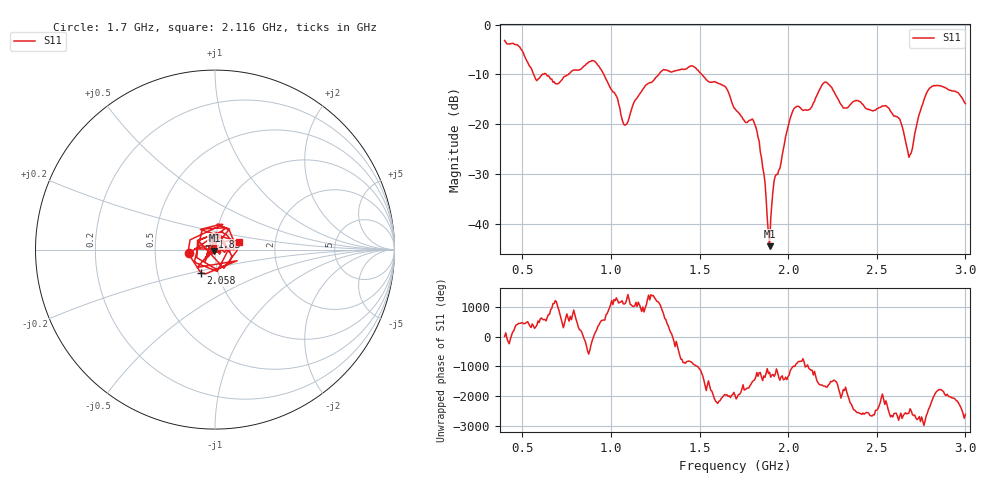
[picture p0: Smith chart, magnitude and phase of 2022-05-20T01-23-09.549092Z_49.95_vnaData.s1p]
!Created with skrf (http://scikit-rf.org).
# Hz S RI R 50.0
!freq ReS11 ImS11
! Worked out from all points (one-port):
!   401 points, 400 MHz to 3 GHz, reference 50 ohm
!   lowest |S11| = -44.5 dB at 1.895 GHz (marker M1), VSWR 1.01, Z = 49.7 - j0.499 ohm
!   |S11| at or under -10 dB: 635.5 MHz to 759.4 MHz (123.9 MHz wide, 17.8 % of centre); 959.8 MHz to 1.269 GHz (309.7 MHz wide, 27.8 % of centre); 1.513 GHz to end of sweep (the widest 3 of 4)
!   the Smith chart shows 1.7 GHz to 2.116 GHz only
!   S11 on the Smith chart (normalised r, x): 1.7 GHz: 0.75, -0.03; 1.83 GHz: 0.96, +0.14; 2.058 GHz: 0.83, -0.22; 2.116 GHz: 1.30, +0.11
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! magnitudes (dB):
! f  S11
! 400 MHz  -3.2
! 484.5 MHz  -4.4
! 582 MHz  -11.2
! 725 MHz  -11.0
! 907 MHz  -7.3
! 1.05 GHz  -16.7
! 1.083 GHz  -20.1
! 1.193 GHz  -12.3
! 1.375 GHz  -9.2
! 1.466 GHz  -8.4
! 1.635 GHz  -12.3
! 1.7 GHz  -16.9
! 1.804 GHz  -19.3
! 1.83 GHz  -22.6
! 1.895 GHz  -44.5
! 1.927 GHz  -30.4
! 2.025 GHz  -17.4
! 2.058 GHz  -16.4
! 2.116 GHz  -17.1
! 2.207 GHz  -11.5
! 2.35 GHz  -16.1
! 2.558 GHz  -16.5
! 2.63 GHz  -19.0
! 2.675 GHz  -25.4
! 2.695 GHz  -25.8
! 2.747 GHz  -17.3
! 2.805 GHz  -12.6
! 3 GHz  -15.9
